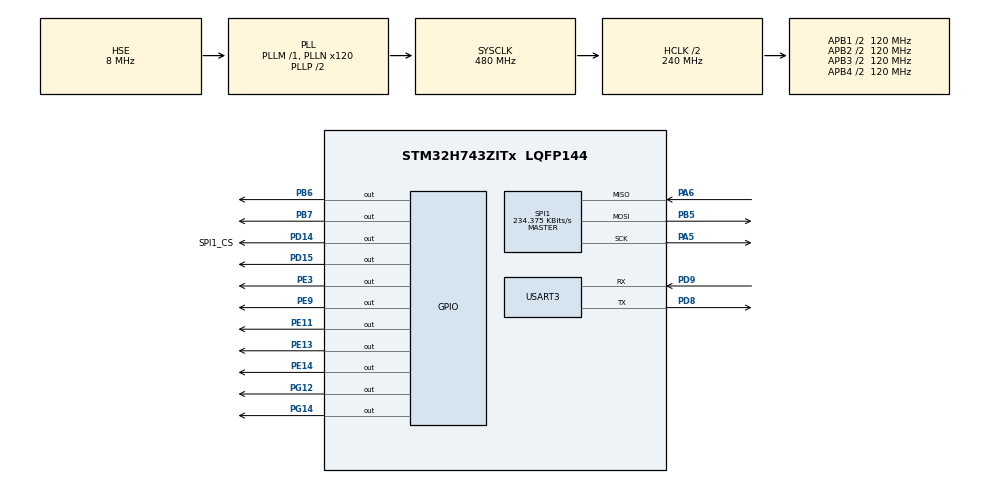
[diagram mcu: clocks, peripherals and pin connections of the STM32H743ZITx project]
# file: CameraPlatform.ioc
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CORTEX_M7.CPU_DCache=Enabled
CORTEX_M7.CPU_ICache=Enabled
Dma.Request0=USART3_RX
Dma.Request1=USART3_TX
Dma.Request2=SPI1_RX
Dma.Request3=SPI1_TX
Dma.SPI1_RX.2.Direction=DMA_PERIPH_TO_MEMORY
Dma.SPI1_RX.2.EventEnable=DISABLE
Dma.SPI1_RX.2.FIFOMode=DMA_FIFOMODE_DISABLE
Dma.SPI1_RX.2.Instance=DMA1_Stream2
Dma.SPI1_RX.2.MemDataAlignment=DMA_MDATAALIGN_BYTE
Dma.SPI1_RX.2.MemInc=DMA_MINC_ENABLE
Dma.SPI1_RX.2.Mode=DMA_NORMAL
Dma.SPI1_RX.2.PeriphDataAlignment=DMA_PDATAALIGN_BYTE
Dma.SPI1_RX.2.PeriphInc=DMA_PINC_DISABLE
Dma.SPI1_RX.2.Polarity=HAL_DMAMUX_REQ_GEN_RISING
Dma.SPI1_RX.2.Priority=DMA_PRIORITY_LOW
Dma.SPI1_RX.2.RequestNumber=1
Dma.SPI1_RX.2.SignalID=NONE
Dma.SPI1_RX.2.SyncEnable=DISABLE
Dma.SPI1_RX.2.SyncPolarity=HAL_DMAMUX_SYNC_NO_EVENT
Dma.SPI1_RX.2.SyncRequestNumber=1
Dma.SPI1_RX.2.SyncSignalID=NONE
Dma.SPI1_TX.3.Direction=DMA_MEMORY_TO_PERIPH
Dma.SPI1_TX.3.EventEnable=DISABLE
Dma.SPI1_TX.3.FIFOMode=DMA_FIFOMODE_DISABLE
Dma.SPI1_TX.3.Instance=DMA1_Stream3
Dma.SPI1_TX.3.MemDataAlignment=DMA_MDATAALIGN_BYTE
Dma.SPI1_TX.3.MemInc=DMA_MINC_ENABLE
Dma.SPI1_TX.3.Mode=DMA_NORMAL
Dma.SPI1_TX.3.PeriphDataAlignment=DMA_PDATAALIGN_BYTE
Dma.SPI1_TX.3.PeriphInc=DMA_PINC_DISABLE
Dma.SPI1_TX.3.Polarity=HAL_DMAMUX_REQ_GEN_RISING
Dma.SPI1_TX.3.Priority=DMA_PRIORITY_LOW
Dma.SPI1_TX.3.RequestNumber=1
Dma.SPI1_TX.3.SignalID=NONE
Dma.SPI1_TX.3.SyncEnable=DISABLE
Dma.SPI1_TX.3.SyncPolarity=HAL_DMAMUX_SYNC_NO_EVENT
Dma.SPI1_TX.3.SyncRequestNumber=1
Dma.SPI1_TX.3.SyncSignalID=NONE
Dma.USART3_RX.0.Direction=DMA_PERIPH_TO_MEMORY
Dma.USART3_RX.0.EventEnable=DISABLE
Dma.USART3_RX.0.FIFOMode=DMA_FIFOMODE_DISABLE
Dma.USART3_RX.0.Instance=DMA1_Stream0
Dma.USART3_RX.0.MemDataAlignment=DMA_MDATAALIGN_BYTE
Dma.USART3_RX.0.MemInc=DMA_MINC_ENABLE
Dma.USART3_RX.0.Mode=DMA_NORMAL
Dma.USART3_RX.0.PeriphDataAlignment=DMA_PDATAALIGN_BYTE
Dma.USART3_RX.0.PeriphInc=DMA_PINC_DISABLE
Dma.USART3_RX.0.Polarity=HAL_DMAMUX_REQ_GEN_RISING
Dma.USART3_RX.0.Priority=DMA_PRIORITY_MEDIUM
Dma.USART3_RX.0.RequestNumber=1
Dma.USART3_RX.0.SignalID=NONE
Dma.USART3_RX.0.SyncEnable=DISABLE
Dma.USART3_RX.0.SyncPolarity=HAL_DMAMUX_SYNC_NO_EVENT
Dma.USART3_RX.0.SyncRequestNumber=1
Dma.USART3_RX.0.SyncSignalID=NONE
Dma.USART3_TX.1.Direction=DMA_MEMORY_TO_PERIPH
Dma.USART3_TX.1.EventEnable=DISABLE
Dma.USART3_TX.1.FIFOMode=DMA_FIFOMODE_DISABLE
Dma.USART3_TX.1.Instance=DMA1_Stream1
Dma.USART3_TX.1.MemDataAlignment=DMA_MDATAALIGN_BYTE
Dma.USART3_TX.1.MemInc=DMA_MINC_ENABLE
Dma.USART3_TX.1.Mode=DMA_NORMAL
Dma.USART3_TX.1.PeriphDataAlignment=DMA_PDATAALIGN_BYTE
Dma.USART3_TX.1.PeriphInc=DMA_PINC_DISABLE
Dma.USART3_TX.1.Polarity=HAL_DMAMUX_REQ_GEN_RISING
Dma.USART3_TX.1.Priority=DMA_PRIORITY_MEDIUM
Dma.USART3_TX.1.RequestNumber=1
Dma.USART3_TX.1.SignalID=NONE
Dma.USART3_TX.1.SyncEnable=DISABLE
Dma.USART3_TX.1.SyncPolarity=HAL_DMAMUX_SYNC_NO_EVENT
Dma.USART3_TX.1.SyncRequestNumber=1
Dma.USART3_TX.1.SyncSignalID=NONE
FREERTOS.Tasks01=defaultTask,24,256,StartDefaultTask,Default,NULL,Dynamic,NULL,NULL
Mcu.Family=STM32H7
Mcu.Name=STM32H743ZITx
Mcu.Package=LQFP144
NVIC.DMA1_Stream0_IRQn=true\:0\:0\:false\:false\:true\:true\:false\:true
NVIC.DMA1_Stream1_IRQn=true\:0\:0\:false\:false\:true\:true\:false\:true
NVIC.DMA1_Stream2_IRQn=true\:0\:0\:false\:false\:true\:true\:false\:true
NVIC.DMA1_Stream3_IRQn=true\:0\:0\:false\:false\:true\:true\:false\:true
NVIC.PriorityGroup=NVIC_PRIORITYGROUP_4
NVIC.SPI1_IRQn=true\:0\:0\:false\:false\:true\:false\:true\:true
NVIC.USART3_IRQn=true\:0\:0\:false\:false\:true\:false\:true\:true
PA13\ (JTMS/SWDIO).Mode=Serial_Wire
PA13\ (JTMS/SWDIO).Signal=DEBUG_JTMS-SWDIO
PA14\ (JTCK/SWCLK).Mode=Serial_Wire
PA14\ (JTCK/SWCLK).Signal=DEBUG_JTCK-SWCLK
PA5.Mode=Full_Duplex_Master
PA5.Signal=SPI1_SCK
PA6.GPIO_PuPd=GPIO_PULLUP
PA6.Mode=Full_Duplex_Master
PA6.Signal=SPI1_MISO
PB5.Mode=Full_Duplex_Master
PB5.Signal=SPI1_MOSI
PB6.Signal=GPIO_Output
PB7.Signal=GPIO_Output
PD14.GPIO_Label=SPI1_CS
PD14.Signal=GPIO_Output
PD15.Signal=GPIO_Output
PD8.GPIO_Speed=GPIO_SPEED_FREQ_HIGH
PD8.Mode=Asynchronous
PD8.Signal=USART3_TX
PD9.GPIO_Speed=GPIO_SPEED_FREQ_HIGH
PD9.Mode=Asynchronous
PD9.Signal=USART3_RX
PE11.Signal=GPIO_Output
PE13.Signal=GPIO_Output
PE14.Signal=GPIO_Output
PE3.Signal=GPIO_Output
PE9.Signal=GPIO_Output
PG12.Signal=GPIO_Output
PG14.Signal=GPIO_Output
PH0-OSC_IN\ (PH0).Mode=HSE-External-Clock-Source
PH0-OSC_IN\ (PH0).Signal=RCC_OSC_IN
ProjectManager.HeapSize=0x2000
ProjectManager.StackSize=0x4000
ProjectManager.TargetToolchain=MDK-ARM V5.27
RCC.ADCFreq_Value=16125000
RCC.APB1Freq_Value=120000000
RCC.APB2Freq_Value=120000000
RCC.APB3Freq_Value=120000000
RCC.APB4Freq_Value=120000000
RCC.CortexFreq_Value=480000000
RCC.D1PPRE=RCC_APB3_DIV2
RCC.D2PPRE1=RCC_APB1_DIV2
RCC.D2PPRE2=RCC_APB2_DIV2
RCC.D3PPRE=RCC_APB4_DIV2
RCC.DIVM1=1
RCC.DIVN1=120
RCC.DIVQ1=32
RCC.HCLKFreq_Value=240000000
RCC.HPRE=RCC_HCLK_DIV2
RCC.HSE_VALUE=8000000
RCC.PLLFRACN=0
RCC.PLLSourceVirtual=RCC_PLLSOURCE_HSE
RCC.SYSCLKFreq_VALUE=480000000
RCC.SYSCLKSource=RCC_SYSCLKSOURCE_PLLCLK
RCC.USBFreq_Value=30000000
SPI1.BaudRatePrescaler=SPI_BAUDRATEPRESCALER_128
SPI1.CLKPhase=SPI_PHASE_2EDGE
SPI1.CLKPolarity=SPI_POLARITY_HIGH
SPI1.CalculateBaudRate=234.375 KBits/s
SPI1.DataSize=SPI_DATASIZE_8BIT
SPI1.Direction=SPI_DIRECTION_2LINES
SPI1.Mode=SPI_MODE_MASTER
SPI1.VirtualType=VM_MASTER
USART3.VirtualMode-Asynchronous=VM_ASYNC
VP_FREERTOS_VS_CMSIS_V2.Mode=CMSIS_V2
board=custom

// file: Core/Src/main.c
/* USER CODE BEGIN Header */
/**
  ******************************************************************************
  * @file           : main.c
  * @brief          : Main program body
  ******************************************************************************
  * @attention
  *
  * <h2><center>&copy; Copyright (c) 2020 STMicroelectronics.
  * All rights reserved.</center></h2>
  *
  * This software component is licensed by ST under Ultimate Liberty license
  * SLA0044, the "License"; You may not use this file except in compliance with
  * the License. You may obtain a copy of the License at:
  *                             www.st.com/SLA0044
  *
  ******************************************************************************
  */
/* USER CODE END Header */
#include "main.h"
#include "cmsis_os.h"
#include "dma.h"
#include "spi.h"
#include "usart.h"
#include "gpio.h"

void SystemClock_Config(void);
void MX_FREERTOS_Init(void);

int main(void)
{

  /* Enable I-Cache---------------------------------------------------------*/
  SCB_EnableICache();

  /* Enable D-Cache---------------------------------------------------------*/
  SCB_EnableDCache();

  /* MCU Configuration--------------------------------------------------------*/

  /* Reset of all peripherals, Initializes the Flash interface and the Systick. */
  HAL_Init();

  /* Configure the system clock */
  SystemClock_Config();

  /* Initialize all configured peripherals */
  MX_GPIO_Init();
  MX_DMA_Init();
  MX_USART3_UART_Init();
  MX_SPI1_Init();

  /* Init scheduler */
  osKernelInitialize();  /* Call init function for freertos objects (in freertos.c) */
  MX_FREERTOS_Init();
  /* Start scheduler */
  osKernelStart();

  /* We should never get here as control is now taken by the scheduler */
  /* Infinite loop */
  while (1)
  {

  }
}

void SystemClock_Config(void)
{
  RCC_OscInitTypeDef RCC_OscInitStruct = {0};
  RCC_ClkInitTypeDef RCC_ClkInitStruct = {0};
  RCC_PeriphCLKInitTypeDef PeriphClkInitStruct = {0};

  /** Supply configuration update enable
  */
  HAL_PWREx_ConfigSupply(PWR_LDO_SUPPLY);
  /** Configure the main internal regulator output voltage
  */
  __HAL_PWR_VOLTAGESCALING_CONFIG(PWR_REGULATOR_VOLTAGE_SCALE0);

  while(!__HAL_PWR_GET_FLAG(PWR_FLAG_VOSRDY)) {}
  /** Initializes the RCC Oscillators according to the specified parameters
  * in the RCC_OscInitTypeDef structure.
  */
  RCC_OscInitStruct.OscillatorType = RCC_OSCILLATORTYPE_HSE;
  RCC_OscInitStruct.HSEState = RCC_HSE_BYPASS;
  RCC_OscInitStruct.PLL.PLLState = RCC_PLL_ON;
  RCC_OscInitStruct.PLL.PLLSource = RCC_PLLSOURCE_HSE;
  RCC_OscInitStruct.PLL.PLLM = 1;
  RCC_OscInitStruct.PLL.PLLN = 120;
  RCC_OscInitStruct.PLL.PLLP = 2;
  RCC_OscInitStruct.PLL.PLLQ = 32;
  RCC_OscInitStruct.PLL.PLLR = 2;
  RCC_OscInitStruct.PLL.PLLRGE = RCC_PLL1VCIRANGE_3;
  RCC_OscInitStruct.PLL.PLLVCOSEL = RCC_PLL1VCOWIDE;
  RCC_OscInitStruct.PLL.PLLFRACN = 0;
  if (HAL_RCC_OscConfig(&RCC_OscInitStruct) != HAL_OK)
  {
    Error_Handler();
  }
  /** Initializes the CPU, AHB and APB buses clocks
  */
  RCC_ClkInitStruct.ClockType = RCC_CLOCKTYPE_HCLK|RCC_CLOCKTYPE_SYSCLK
                              |RCC_CLOCKTYPE_PCLK1|RCC_CLOCKTYPE_PCLK2
                              |RCC_CLOCKTYPE_D3PCLK1|RCC_CLOCKTYPE_D1PCLK1;
  RCC_ClkInitStruct.SYSCLKSource = RCC_SYSCLKSOURCE_PLLCLK;
  RCC_ClkInitStruct.SYSCLKDivider = RCC_SYSCLK_DIV1;
  RCC_ClkInitStruct.AHBCLKDivider = RCC_HCLK_DIV2;
  RCC_ClkInitStruct.APB3CLKDivider = RCC_APB3_DIV2;
  RCC_ClkInitStruct.APB1CLKDivider = RCC_APB1_DIV2;
  RCC_ClkInitStruct.APB2CLKDivider = RCC_APB2_DIV2;
  RCC_ClkInitStruct.APB4CLKDivider = RCC_APB4_DIV2;

  if (HAL_RCC_ClockConfig(&RCC_ClkInitStruct, FLASH_LATENCY_4) != HAL_OK)
  {
    Error_Handler();
  }
  PeriphClkInitStruct.PeriphClockSelection = RCC_PERIPHCLK_USART3|RCC_PERIPHCLK_SPI1;
  PeriphClkInitStruct.Spi123ClockSelection = RCC_SPI123CLKSOURCE_PLL;
  PeriphClkInitStruct.Usart234578ClockSelection = RCC_USART234578CLKSOURCE_D2PCLK1;
  if (HAL_RCCEx_PeriphCLKConfig(&PeriphClkInitStruct) != HAL_OK)
  {
    Error_Handler();
  }
}

void Error_Handler(void)
{
}

/************************ (C) COPYRIGHT STMicroelectronics *****END OF FILE****/

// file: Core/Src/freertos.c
/* USER CODE BEGIN Header */
/**
  ******************************************************************************
  * File Name          : freertos.c
  * Description        : Code for freertos applications
  ******************************************************************************
  * @attention
  *
  * <h2><center>&copy; Copyright (c) 2020 STMicroelectronics.
  * All rights reserved.</center></h2>
  *
  * This software component is licensed by ST under Ultimate Liberty license
  * SLA0044, the "License"; You may not use this file except in compliance with
  * the License. You may obtain a copy of the License at:
  *                             www.st.com/SLA0044
  *
  ******************************************************************************
  */
/* USER CODE END Header */

#include "FreeRTOS.h"
#include "task.h"
#include "main.h"
#include "cmsis_os.h"

/* USER CODE BEGIN Includes */
#include "communication.h"
#include "spi.h"
#include "usart.h"
/* USER CODE END Includes */

/* Definitions for defaultTask */
osThreadId_t defaultTaskHandle;
const osThreadAttr_t defaultTask_attributes = {
  .name = "defaultTask",
  .priority = (osPriority_t) osPriorityNormal,
  .stack_size = 256 * 4
};

void StartDefaultTask(void *argument);

void MX_FREERTOS_Init(void); /* (MISRA C 2004 rule 8.1) */

void MX_FREERTOS_Init(void) {

  /* Create the thread(s) */
  /* creation of defaultTask */
  defaultTaskHandle = osThreadNew(StartDefaultTask, NULL, &defaultTask_attributes);

}

void StartDefaultTask(void *argument)
{
  /* USER CODE BEGIN StartDefaultTask */
	uint8_t txBuf[21];
	uint8_t rxBuf[21];

	HAL_GPIO_WritePin(SPI1_CS_GPIO_Port, SPI1_CS_Pin, GPIO_PIN_RESET);

	txBuf[0] = 0x01;
	txBuf[2] = 0x00;
	for(uint8_t i = 9; i < 21; i++) txBuf[i] = 0x00;

	txBuf[1] = 0x42;
	txBuf[3] = 0xFF;
	txBuf[4] = 0xFF;
	HAL_SPI_TransmitReceive(&hspi1, txBuf, rxBuf, 5, 200);

	txBuf[1] = 0x43;
	txBuf[3] = 0x01;
	txBuf[4] = 0x00;
	HAL_SPI_TransmitReceive(&hspi1, txBuf, rxBuf, 5, 200);

	txBuf[1] = 0x44;
	txBuf[3] = 0x01;
	txBuf[4] = 0x03;
	HAL_SPI_TransmitReceive(&hspi1, txBuf, rxBuf, 9, 200);

	txBuf[1] = 0x4D;
	txBuf[3] = 0x00;
	txBuf[4] = 0x01;
	for(uint8_t i = 5; i < 9; i++) txBuf[i] = 0xFF;
	HAL_SPI_TransmitReceive(&hspi1, txBuf, rxBuf, 9, 200);

	txBuf[1] = 0x4F;
	txBuf[3] = 0x00;
	txBuf[4] = 0x01;
	txBuf[5] = 0x03;
	for(uint8_t i = 6; i < 9; i++) txBuf[i] = 0x00;
	HAL_SPI_TransmitReceive(&hspi1, txBuf, rxBuf, 9, 200);

	txBuf[1] = 0x43;
	txBuf[3] = 0x00;
	for(uint8_t i = 4; i < 9; i++) txBuf[i] = 0x5A;
	HAL_SPI_TransmitReceive(&hspi1, txBuf, rxBuf, 9, 200);

	txBuf[1] = 0x42;
	for(uint8_t i = 3; i < 21; i++) txBuf[i] = 0x50;
  /* Infinite loop */
  for(;;)
  {
		HAL_GPIO_WritePin(SPI1_CS_GPIO_Port, SPI1_CS_Pin, GPIO_PIN_RESET);
		HAL_SPI_TransmitReceive(&hspi1, txBuf, rxBuf, 21, 200);
		HAL_UART_Transmit(&huart3, rxBuf, 21, 200);
		HAL_GPIO_WritePin(SPI1_CS_GPIO_Port, SPI1_CS_Pin, GPIO_PIN_SET);

    osDelay(1000);
  }
  /* USER CODE END StartDefaultTask */
}

/************************ (C) COPYRIGHT STMicroelectronics *****END OF FILE****/
